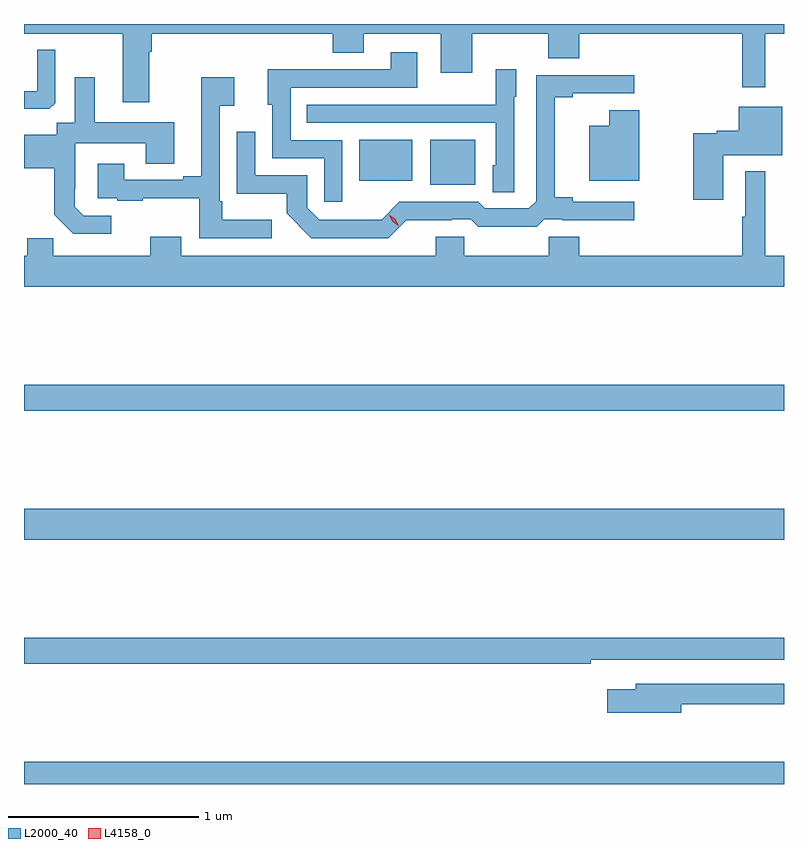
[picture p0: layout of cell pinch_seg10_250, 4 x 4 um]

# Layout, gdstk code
import gdstk
lib = gdstk.Library(unit=1e-6, precision=1e-09)
def R(c, l, rs):  # rectangles x0, y0, x1, y1
    for r in rs: c.add(gdstk.rectangle(r[:2], r[2:], *l))
def P(c, l, *ps):  # polygons
    for p in ps: c.add(gdstk.Polygon(p, *l))
L2000_40 = (2000, 40)
L4158_0 = (4158, 0)

pinch_seg10_250 = lib.new_cell('pinch_seg10_250')
R(pinch_seg10_250, L2000_40, [(551.875,1305.691,555.875,1305.808), (551.875,1306.976,555.875,1307.14), (551.875,1307.656,555.875,1307.792), (554.012,1308.845,554.251,1309.081), (553.64,1308.866,553.918,1309.081)])
P(pinch_seg10_250, L2000_40, [(552.535,1309.544),(552.548,1309.544),(552.548,1309.64),(553.499,1309.64),(553.499,1309.541),(553.663,1309.541),(553.663,1309.64),(554.069,1309.64),(554.069,1309.434),(554.233,1309.434),(554.233,1309.64),(554.633,1309.64),(554.633,1309.512),(554.797,1309.512),(554.797,1309.64),(555.654,1309.64),(555.654,1309.359),(555.775,1309.359),(555.775,1309.64),(555.875,1309.64),(555.875,1309.691),(551.875,1309.691),(551.875,1309.64),(552.395,1309.64),(552.395,1309.278),(552.535,1309.278)],
  [(552.039,1309.275),(552.039,1309.555),(551.946,1309.555),(551.946,1309.338),(551.875,1309.338),(551.875,1309.244),(552.007,1309.244)],
  [(553.551,1309.08),(553.278,1309.08),(553.278,1309.356),(553.945,1309.356),(553.945,1309.543),(553.805,1309.543),(553.805,1309.452),(553.375,1309.452),(553.375,1309.454),(553.157,1309.454),(553.157,1309.266),(553.182,1309.266),(553.182,1308.984),(553.455,1308.984),(553.455,1308.756),(553.551,1308.756)],
  [(554.454,1309.308),(554.467,1309.308),(554.467,1309.453),(554.358,1309.453),(554.358,1309.267),(554.041,1309.267),(554.041,1309.266),(553.363,1309.266),(553.363,1309.17),(554.358,1309.17),(554.358,1308.948),(554.342,1308.948),(554.342,1308.805),(554.454,1308.805)],
  [(553.886,1308.659),(554.126,1308.659),(554.126,1308.663),(554.226,1308.663),(554.266,1308.624),(554.573,1308.624),(554.613,1308.663),(554.707,1308.663),(554.707,1308.659),(555.088,1308.659),(555.088,1308.756),(554.764,1308.756),(554.764,1308.779),(554.669,1308.779),(554.669,1309.306),(554.764,1309.306),(554.764,1309.326),(555.088,1309.326),(555.088,1309.422),(554.571,1309.422),(554.571,1308.759),(554.532,1308.72),(554.301,1308.72),(554.265,1308.756),(553.851,1308.756),(553.757,1308.662),(553.652,1308.662),(553.652,1308.66),(553.428,1308.66),(553.365,1308.723),(553.365,1308.894),(553.092,1308.894),(553.092,1309.123),(552.996,1309.123),(552.996,1308.797),(553.258,1308.797),(553.258,1308.695),(553.388,1308.564),(553.791,1308.564)],
  [(552.334,1308.681),(552.189,1308.681),(552.142,1308.728),(552.142,1308.823),(552.144,1308.823),(552.144,1309.064),(552.515,1309.064),(552.515,1308.955),(552.667,1308.955),(552.667,1309.174),(552.247,1309.174),(552.247,1309.411),(552.143,1309.411),(552.143,1309.172),(552.048,1309.172),(552.048,1309.108),(551.875,1309.108),(551.875,1308.933),(552.033,1308.933),(552.033,1308.687),(552.133,1308.587),(552.334,1308.587)],
  [(553.18,1308.661),(552.919,1308.661),(552.919,1308.757),(552.906,1308.757),(552.906,1309.262),(552.982,1309.262),(552.982,1309.411),(552.809,1309.411),(552.809,1308.889),(552.713,1308.889),(552.713,1308.87),(552.403,1308.87),(552.403,1308.955),(552.263,1308.955),(552.263,1308.774),(552.367,1308.774),(552.367,1308.762),(552.499,1308.762),(552.499,1308.773),(552.798,1308.773),(552.798,1308.564),(553.18,1308.564)],
  [(555.556,1309.001),(555.865,1309.001),(555.865,1309.255),(555.638,1309.255),(555.638,1309.13),(555.522,1309.13),(555.522,1309.117),(555.398,1309.117),(555.398,1308.765),(555.556,1308.765)],
  [(555.112,1309.237),(554.954,1309.237),(554.954,1309.156),(554.849,1309.156),(554.849,1308.866),(555.112,1308.866)],
  [(555.875,1308.472),(555.775,1308.472),(555.775,1308.916),(555.671,1308.916),(555.671,1308.677),(555.654,1308.677),(555.654,1308.472),(554.798,1308.472),(554.798,1308.57),(554.638,1308.57),(554.638,1308.472),(554.193,1308.472),(554.193,1308.57),(554.042,1308.57),(554.042,1308.472),(552.703,1308.472),(552.703,1308.571),(552.539,1308.571),(552.539,1308.472),(552.029,1308.472),(552.029,1308.563),(551.891,1308.563),(551.891,1308.472),(551.875,1308.472),(551.875,1308.308),(555.875,1308.308)],
  [(554.858,1306.344),(555.875,1306.344),(555.875,1306.46),(551.875,1306.46),(551.875,1306.324),(554.858,1306.324)],
  [(555.334,1306.11),(555.875,1306.11),(555.875,1306.218),(555.095,1306.218),(555.095,1306.189),(554.946,1306.189),(554.946,1306.067),(555.334,1306.067)])
P(pinch_seg10_250, L4158_0, [(553.844,1308.63),(553.813,1308.652),(553.797,1308.685),(553.797,1308.686),(553.797,1308.686),(553.828,1308.665),(553.844,1308.631),(553.844,1308.63)])

lib.write_gds('pinch_seg10_250.gds')
